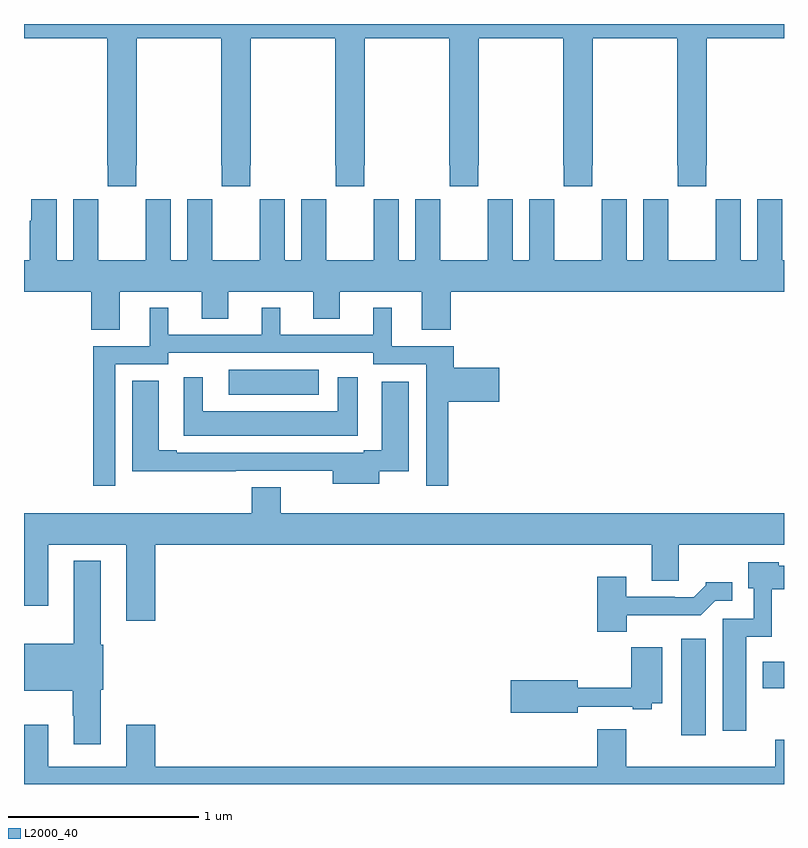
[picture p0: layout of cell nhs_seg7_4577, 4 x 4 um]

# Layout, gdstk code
import gdstk
lib = gdstk.Library(unit=1e-6, precision=1e-09)
def R(c, l, rs):  # rectangles x0, y0, x1, y1
    for r in rs: c.add(gdstk.rectangle(r[:2], r[2:], *l))
def P(c, l, *ps):  # polygons
    for p in ps: c.add(gdstk.Polygon(p, *l))
L2000_40 = (2000, 40)

nhs_seg7_4577 = lib.new_cell('nhs_seg7_4577')
R(nhs_seg7_4577, L2000_40, [(402.458,1022.256,402.589,1022.764), (402.887,1022.504,403,1022.644), (400.077,1024.049,400.552,1024.18)])
P(nhs_seg7_4577, L2000_40, [(399,1025.924),(399.439,1025.924),(399.439,1025.257),(399.441,1025.257),(399.441,1025.145),(399.591,1025.145),(399.591,1025.257),(399.594,1025.257),(399.594,1025.924),(400.039,1025.924),(400.039,1025.257),(400.041,1025.257),(400.041,1025.145),(400.191,1025.145),(400.191,1025.257),(400.194,1025.257),(400.194,1025.924),(400.639,1025.924),(400.639,1025.257),(400.641,1025.257),(400.641,1025.145),(400.791,1025.145),(400.791,1025.257),(400.794,1025.257),(400.794,1025.924),(401.239,1025.924),(401.239,1025.257),(401.241,1025.257),(401.241,1025.145),(401.391,1025.145),(401.391,1025.257),(401.394,1025.257),(401.394,1025.924),(401.839,1025.924),(401.839,1025.257),(401.841,1025.257),(401.841,1025.145),(401.991,1025.145),(401.991,1025.257),(401.994,1025.257),(401.994,1025.924),(402.439,1025.924),(402.439,1025.257),(402.441,1025.257),(402.441,1025.145),(402.591,1025.145),(402.591,1025.257),(402.594,1025.257),(402.594,1025.924),(403,1025.924),(403,1026),(399,1026)],
  [(399.86,1024.756),(399.772,1024.756),(399.772,1025.077),(399.642,1025.077),(399.642,1024.964),(399.641,1024.964),(399.641,1024.756),(399.391,1024.756),(399.391,1024.964),(399.39,1024.964),(399.39,1025.077),(399.26,1025.077),(399.26,1024.756),(399.172,1024.756),(399.172,1025.077),(399.038,1025.077),(399.038,1024.964),(399.029,1024.964),(399.029,1024.756),(399,1024.756),(399,1024.592),(399.353,1024.592),(399.353,1024.39),(399.505,1024.39),(399.505,1024.592),(399.935,1024.592),(399.935,1024.45),(400.075,1024.45),(400.075,1024.592),(400.523,1024.592),(400.523,1024.45),(400.663,1024.45),(400.663,1024.592),(401.093,1024.592),(401.093,1024.39),(401.246,1024.39),(401.246,1024.592),(403,1024.592),(403,1024.756),(402.991,1024.756),(402.991,1024.964),(402.99,1024.964),(402.99,1025.077),(402.86,1025.077),(402.86,1024.756),(402.772,1024.756),(402.772,1025.077),(402.642,1025.077),(402.642,1024.964),(402.641,1024.964),(402.641,1024.756),(402.391,1024.756),(402.391,1024.964),(402.39,1024.964),(402.39,1025.077),(402.26,1025.077),(402.26,1024.756),(402.172,1024.756),(402.172,1025.077),(402.042,1025.077),(402.042,1024.964),(402.041,1024.964),(402.041,1024.756),(401.791,1024.756),(401.791,1024.964),(401.79,1024.964),(401.79,1025.077),(401.66,1025.077),(401.66,1024.756),(401.572,1024.756),(401.572,1025.077),(401.442,1025.077),(401.442,1024.964),(401.441,1024.964),(401.441,1024.756),(401.191,1024.756),(401.191,1024.964),(401.19,1024.964),(401.19,1025.077),(401.06,1025.077),(401.06,1024.756),(400.972,1024.756),(400.972,1025.077),(400.842,1025.077),(400.842,1024.964),(400.841,1024.964),(400.841,1024.756),(400.591,1024.756),(400.591,1024.964),(400.59,1024.964),(400.59,1025.077),(400.46,1025.077),(400.46,1024.756),(400.372,1024.756),(400.372,1025.077),(400.242,1025.077),(400.242,1024.964),(400.241,1024.964),(400.241,1024.756),(399.991,1024.756),(399.991,1024.964),(399.99,1024.964),(399.99,1025.077),(399.86,1025.077)],
  [(399.48,1024.209),(399.759,1024.209),(399.759,1024.269),(400.839,1024.269),(400.839,1024.209),(401.118,1024.209),(401.118,1023.57),(401.234,1023.57),(401.234,1024.013),(401.5,1024.013),(401.5,1024.191),(401.261,1024.191),(401.261,1024.305),(400.936,1024.305),(400.936,1024.507),(400.838,1024.507),(400.838,1024.365),(400.348,1024.365),(400.348,1024.507),(400.25,1024.507),(400.25,1024.365),(399.76,1024.365),(399.76,1024.507),(399.662,1024.507),(399.662,1024.305),(399.364,1024.305),(399.364,1023.57),(399.48,1023.57)],
  [(400.756,1024.141),(400.652,1024.141),(400.652,1023.961),(399.94,1023.961),(399.94,1024.141),(399.842,1024.141),(399.842,1023.833),(400.756,1023.833)],
  [(400.87,1023.646),(401.026,1023.646),(401.026,1024.117),(400.883,1024.117),(400.883,1023.757),(400.787,1023.757),(400.787,1023.744),(399.805,1023.744),(399.805,1023.757),(399.709,1023.757),(399.709,1024.123),(399.569,1024.123),(399.569,1023.646),(400.115,1023.646),(400.115,1023.648),(400.625,1023.648),(400.625,1023.581),(400.87,1023.581)],
  [(399.692,1023.26),(402.305,1023.26),(402.305,1023.07),(402.445,1023.07),(402.445,1023.26),(403,1023.26),(403,1023.424),(400.351,1023.424),(400.351,1023.563),(400.199,1023.563),(400.199,1023.424),(399,1023.424),(399,1022.937),(399.127,1022.937),(399.127,1023.26),(399.539,1023.26),(399.539,1022.859),(399.692,1022.859)],
  [(399.403,1022.496),(399.416,1022.496),(399.416,1022.733),(399.403,1022.733),(399.403,1023.175),(399.263,1023.175),(399.263,1022.737),(399,1022.737),(399,1022.492),(399.256,1022.492),(399.256,1022.358),(399.263,1022.358),(399.263,1022.208),(399.403,1022.208)],
  [(402.802,1022.774),(402.936,1022.774),(402.936,1023.026),(403,1023.026),(403,1023.148),(402.972,1023.148),(402.972,1023.166),(402.812,1023.166),(402.812,1023.03),(402.84,1023.03),(402.84,1022.871),(402.677,1022.871),(402.677,1022.28),(402.802,1022.28)],
  [(402.172,1022.888),(402.563,1022.888),(402.639,1022.964),(402.727,1022.964),(402.727,1023.061),(402.588,1023.061),(402.588,1023.046),(402.524,1022.982),(402.425,1022.982),(402.425,1022.985),(402.169,1022.985),(402.169,1023.091),(402.017,1023.091),(402.017,1022.801),(402.172,1022.801)],
  [(401.914,1022.406),(402.203,1022.406),(402.203,1022.394),(402.303,1022.394),(402.303,1022.426),(402.358,1022.426),(402.358,1022.719),(402.196,1022.719),(402.196,1022.507),(401.914,1022.507),(401.914,1022.546),(401.562,1022.546),(401.562,1022.375),(401.914,1022.375)],
  [(403,1022.233),(402.953,1022.233),(402.953,1022.092),(402.169,1022.092),(402.169,1022.287),(402.017,1022.287),(402.017,1022.092),(399.692,1022.092),(399.692,1022.311),(399.539,1022.311),(399.539,1022.092),(399.127,1022.092),(399.127,1022.311),(399,1022.311),(399,1022),(403,1022)])

lib.write_gds('nhs_seg7_4577.gds')
